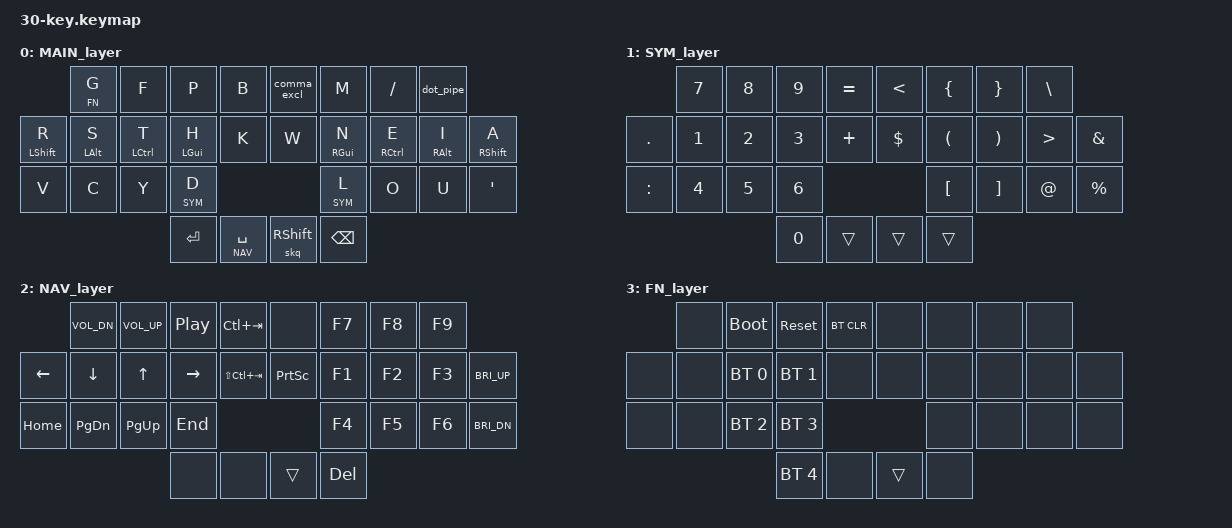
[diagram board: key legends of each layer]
#include <behaviors.dtsi>
#include <dt-bindings/zmk/keys.h>
#include <dt-bindings/zmk/bt.h>

#define MAIN 0
#define SYM 1
#define NAV 2
#define FN 3

&mt {
    flavor = "tap-preferred";
    tapping_term_ms = <160>;
};

/ {
    keymap {
        compatible = "zmk,keymap";

        MAIN_layer {
            bindings = <
                        &lt FN G   &kp F       &kp P      &kp B            &comma_excl &kp M      &kp FSLH    &dot_pipe
            &mt LSHFT R &mt LALT S &mt LCTRL T &mt LGUI H &kp K            &kp W       &mt RGUI N &mt RCTRL E &mt RALT I &mt RSHFT A
            &kp V       &kp C      &kp Y       &lt SYM D                               &lt SYM L  &kp O       &kp U      &kp SQT
                                               &kp ENTER  &lt NAV SPC      &skq RSHFT  &kp BSPC
            >;
        };

        SYM_layer {
            bindings = <
                      &kp N7 &kp N8 &kp N9 &kp EQUAL      &kp LT   &kp LBRC &kp RBRC &kp BSLH
            &kp DOT   &kp N1 &kp N2 &kp N3 &kp PLUS       &kp DLLR &kp LPAR &kp RPAR &kp GT   &kp AMPS
            &kp COLON &kp N4 &kp N5 &kp N6                         &kp LBKT &kp RBKT &kp AT   &kp PRCNT
                                    &kp N0 &trans         &trans   &trans
            >;
        };

        NAV_layer {
            bindings = <
                     &kp C_VOL_DN &kp C_VOL_UP &kp C_PP  &kp LC(TAB)          &none     &kp F7  &kp F8 &kp F9
            &kp LEFT &kp DOWN     &kp UP       &kp RIGHT &kp LS(LC(TAB))      &kp PSCRN &kp F1  &kp F2 &kp F3 &kp C_BRI_UP
            &kp HOME &kp PG_DN    &kp PG_UP    &kp END                                  &kp F4  &kp F5 &kp F6 &kp C_BRI_DN
                                               &none     &none                &trans    &kp DEL
            >;
        };

        FN_layer {
            bindings = <
                  &none &bootloader  &sys_reset   &bt BT_CLR      &none  &none &none &none
            &none &none &bt BT_SEL 0 &bt BT_SEL 1 &none           &none  &none &none &none &none
            &none &none &bt BT_SEL 2 &bt BT_SEL 3                        &none &none &none &none
                                     &bt BT_SEL 4 &none           &trans &none
            >;
        };
    };

    behaviors {
        comma_excl: comma_excl {
            compatible = "zmk,behavior-mod-morph";
            label = "COMMA_EXCL";
            #binding-cells = <0>;
            bindings = <&kp COMMA>, <&kp EXCL>;
            mods = <(MOD_LSFT|MOD_RSFT)>;
        };

        dot_pipe: dot_pipe {
            compatible = "zmk,behavior-mod-morph";
            label = "DOT_PIPE";
            #binding-cells = <0>;
            bindings = <&kp DOT>, <&kp PIPE>;
            mods = <(MOD_LSFT|MOD_RSFT)>;
        };

        skq: sticky_key_quick_release {
            compatible = "zmk,behavior-sticky-key";
            label = "STICKY_KEY_QUICK_RELEASE";
            #binding-cells = <1>;
            bindings = <&kp>;
            release-after-ms = <750>;
            quick-release;
        };
    };

    combos {
        compatible = "zmk,combos";

        combo_esc {
            timeout-ms = <20>;
            key-positions = <19 20>;
            bindings = <&kp ESC>;
            layers = <0>;
        };

        combo_tab {
            timeout-ms = <20>;
            key-positions = <20 21>;
            bindings = <&kp TAB>;
            layers = <0>;
        };

        combo_q {
            timeout-ms = <20>;
            key-positions = <1 2>;
            bindings = <&kp Q>;
            layers = <0>;
        };

        combo_j {
            timeout-ms = <20>;
            key-positions = <1 3>;
            bindings = <&kp J>;
            layers = <0>;
        };

        combo_z {
            timeout-ms = <20>;
            key-positions = <0 1>;
            bindings = <&kp Z>;
            layers = <0>;
        };

        combo_x {
            timeout-ms = <20>;
            key-positions = <0 2>;
            bindings = <&kp X>;
            layers = <0>;
        };

        combo_grave {
            timeout-ms = <20>;
            key-positions = <6 7>;
            bindings = <&kp GRAVE>;
            layers = <1>;
        };

        combo_semi {
            timeout-ms = <20>;
            key-positions = <5 6>;
            bindings = <&kp SEMI>;
            layers = <0>;
        };

        combo_colon {
            timeout-ms = <20>;
            key-positions = <4 6>;
            bindings = <&kp COLON>;
            layers = <0>;
        };

        combo_star {
            timeout-ms = <20>;
            key-positions = <1 2>;
            bindings = <&kp STAR>;
            layers = <1>;
        };

        combo_hash {
            timeout-ms = <20>;
            key-positions = <23 24>;
            bindings = <&kp HASH>;
            layers = <1>;
        };

        combo_tilde {
            timeout-ms = <20>;
            key-positions = <5 6>;
            bindings = <&kp TILDE>;
            layers = <1>;
        };

        combo_caret {
            timeout-ms = <20>;
            key-positions = <6 7>;
            bindings = <&kp CARET>;
            layers = <1>;
        };

        combo_c_prev {
            timeout-ms = <20>;
            key-positions = <0 1>;
            bindings = <&kp C_PREV>;
            layers = <2>;
        };

        combo_c_next {
            timeout-ms = <20>;
            key-positions = <1 2>;
            bindings = <&kp C_NEXT>;
            layers = <2>;
        };

        combo_f10 {
            timeout-ms = <20>;
            key-positions = <5 14>;
            bindings = <&kp F10>;
            layers = <2>;
        };

        combo_f11 {
            timeout-ms = <20>;
            key-positions = <6 15>;
            bindings = <&kp F11>;
            layers = <2>;
        };

        combo_f12 {
            timeout-ms = <20>;
            key-positions = <7 16>;
            bindings = <&kp F12>;
            layers = <2>;
        };
    };
};
